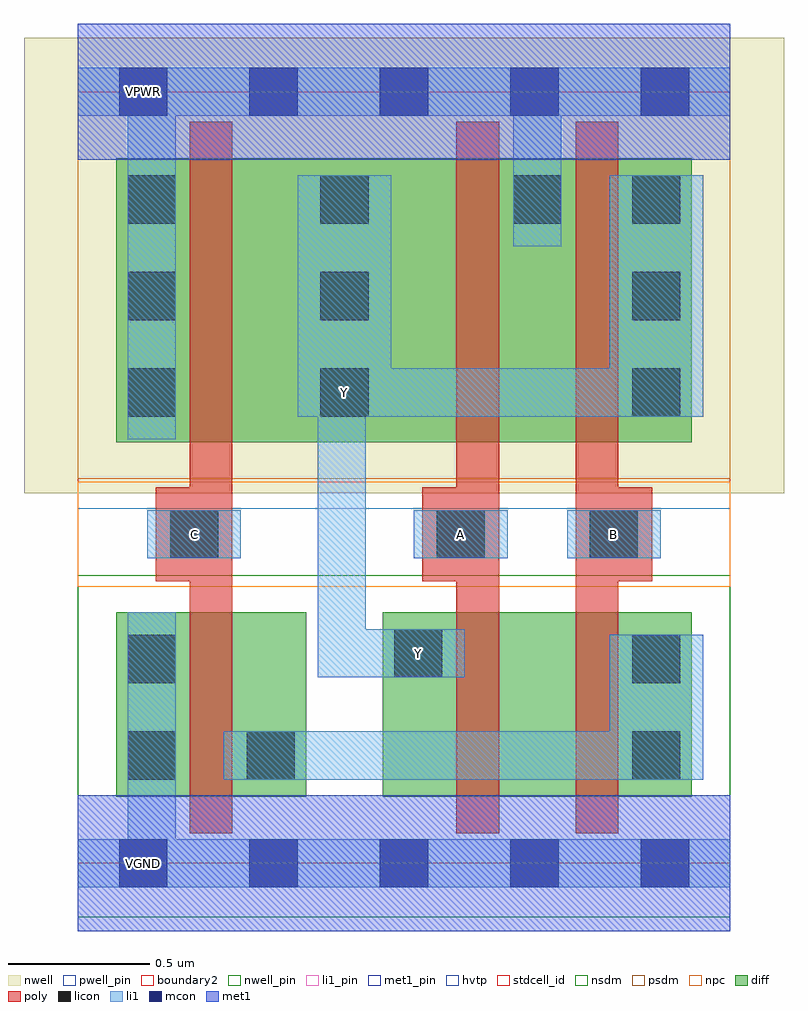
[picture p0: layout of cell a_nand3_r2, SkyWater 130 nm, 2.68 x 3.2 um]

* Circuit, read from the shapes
.subckt a_nand3_r2 A B C VGND VNB VPB VPWR Y
XM1 n1 C VGND VNB sky130_fd_pr__nfet_01v8 w=0.65 l=0.15
XM2 n2 A Y VNB sky130_fd_pr__nfet_01v8 w=0.65 l=0.15
XM3 n1 B n2 VNB sky130_fd_pr__nfet_01v8 w=0.65 l=0.15
XM4 Y C VPWR VPB sky130_fd_pr__pfet_01v8_hvt w=1 l=0.15
XM5 VPWR A Y VPB sky130_fd_pr__pfet_01v8_hvt w=1 l=0.15
XM6 Y B VPWR VPB sky130_fd_pr__pfet_01v8_hvt w=1 l=0.15
.ends

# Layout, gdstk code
import gdstk
lib = gdstk.Library(unit=1e-6, precision=1e-09)
def R(c, l, rs):  # rectangles x0, y0, x1, y1
    for r in rs: c.add(gdstk.rectangle(r[:2], r[2:], *l))
def A(c, l, x, y, w, h, nx, ny, dx, dy):  # array of equal rectangles
    R(c, l, [(x+i*dx, y+j*dy, x+i*dx+w, y+j*dy+h) for i in range(nx) for j in range(ny)])
nwell_pin = (64, 16)
nwell = (64, 20)
diff = (65, 20)
poly = (66, 20)
licon = (66, 44)
li1_pin = (67, 16)
li1 = (67, 20)
mcon = (67, 44)
met1_pin = (68, 16)
met1 = (68, 20)
hvtp = (78, 44)
stdcell_id = (81, 4)
nsdm = (93, 44)
psdm = (94, 20)
npc = (95, 20)
pwell_pin = (122, 16)
boundary2 = (236, 0)

a_nand3_r2 = lib.new_cell('a_nand3_r2')
R(a_nand3_r2, nwell_pin, [(0.145,2.635,0.315,2.805)])
R(a_nand3_r2, nwell, [(-0.19,1.305,2.49,2.91)])
R(a_nand3_r2, diff, [(0.135,0.235,0.805,0.885), (1.075,0.235,1.62,0.885), (1.62,0.235,2.165,0.885), (0.135,1.485,0.94,2.485), (0.94,1.485,1.62,2.485), (1.62,1.485,2.165,2.485)])
R(a_nand3_r2, poly, [(0.395,0.105,0.545,2.615), (1.335,0.105,1.485,2.615), (1.755,0.105,1.905,2.615), (0.275,0.995,0.545,1.325), (1.215,0.995,1.485,1.325), (1.755,0.995,2.025,1.325)])
A(a_nand3_r2, licon, 1.955, 1.575, 0.17, 0.17, 1, 3, 0, 0.34)
A(a_nand3_r2, licon, 0.175, 2.255, 0.17, 0.17, 3, 1, 0.68, 0)
R(a_nand3_r2, licon, [(0.175,0.295,0.345,0.465), (0.595,0.295,0.765,0.465), (1.955,0.295,2.125,0.465), (0.175,0.635,0.345,0.805), (1.955,0.635,2.125,0.805), (1.115,0.655,1.285,0.825), (0.325,1.075,0.495,1.245), (1.265,1.075,1.435,1.245), (1.805,1.075,1.975,1.245), (0.175,1.575,0.345,1.745), (0.855,1.575,1.025,1.745), (0.175,1.915,0.345,2.085), (0.855,1.915,1.025,2.085)])
R(a_nand3_r2, li1_pin, [(1.115,0.655,1.285,0.825), (0.325,1.075,0.495,1.245), (1.265,1.075,1.435,1.245), (1.805,1.075,1.975,1.245), (0.855,1.575,1.025,1.745)])
R(a_nand3_r2, li1, [(0,-0.085,2.3,0.085), (0.175,-0.085,0.345,0.545), (0.175,0.295,0.345,0.885), (0.515,0.295,0.845,0.465), (0.675,0.295,2.045,0.465), (1.875,0.295,2.205,0.465), (1.875,0.295,2.205,0.805), (0.845,0.655,1.205,0.825), (0.845,0.655,1.015,1.745), (1.015,0.655,1.035,0.825), (1.015,0.655,1.035,0.825), (1.015,0.655,1.035,0.825), (1.015,0.655,1.035,0.825), (1.035,0.655,1.365,0.825), (0.245,1.075,0.575,1.245), (1.185,1.075,1.515,1.245), (1.725,1.075,2.055,1.245), (0.175,1.495,0.345,2.085), (0.775,1.575,1.105,1.745), (0.775,1.575,1.105,2.085), (0.935,1.575,2.045,1.745), (1.875,1.575,2.205,1.745), (1.875,1.575,2.205,2.085), (0.175,1.835,0.345,2.425), (0.775,1.915,1.105,2.425), (1.875,1.915,2.205,2.425), (0.175,2.085,0.345,2.175), (0.175,2.085,0.345,2.175), (0.175,2.085,0.345,2.175), (0.175,2.085,0.345,2.175), (0.175,2.175,0.345,2.805), (1.535,2.175,1.705,2.805), (0,2.635,2.3,2.805)])
A(a_nand3_r2, mcon, 0.145, -0.085, 0.17, 0.17, 5, 2, 0.46, 2.72)
R(a_nand3_r2, met1_pin, [(0.145,-0.085,0.315,0.085), (0.145,2.635,0.315,2.805)])
R(a_nand3_r2, met1, [(0,-0.24,2.3,0.24), (0,2.48,2.3,2.96)])
R(a_nand3_r2, hvtp, [(0,1.25,2.3,2.72)])
R(a_nand3_r2, stdcell_id, [(0,0,2.3,2.72)])
R(a_nand3_r2, nsdm, [(0,-0.19,2.3,1.015)])
R(a_nand3_r2, psdm, [(0,1.355,2.3,2.91)])
R(a_nand3_r2, npc, [(0,0.975,2.3,1.345)])
R(a_nand3_r2, pwell_pin, [(0.145,-0.085,0.315,0.085)])
R(a_nand3_r2, boundary2, [(0,0,2.3,2.72)])
a_nand3_r2.add(gdstk.Label('A', (1.35,1.16), layer=67, texttype=5))
a_nand3_r2.add(gdstk.Label('B', (1.89,1.16), layer=67, texttype=5))
a_nand3_r2.add(gdstk.Label('C', (0.41,1.16), layer=67, texttype=5))
a_nand3_r2.add(gdstk.Label('Y', (1.2,0.74), layer=67, texttype=5))
a_nand3_r2.add(gdstk.Label('Y', (0.94,1.66), layer=67, texttype=5))
a_nand3_r2.add(gdstk.Label('VGND', (0.23,0), layer=68, texttype=5))
a_nand3_r2.add(gdstk.Label('VPWR', (0.23,2.72), layer=68, texttype=5))
a_nand3_r2.add(gdstk.Label('VPB', (0.23,2.72), layer=64, texttype=5))
a_nand3_r2.add(gdstk.Label('VNB', (0.23,0), layer=64, texttype=59))

lib.write_gds('a_nand3_r2.gds')
